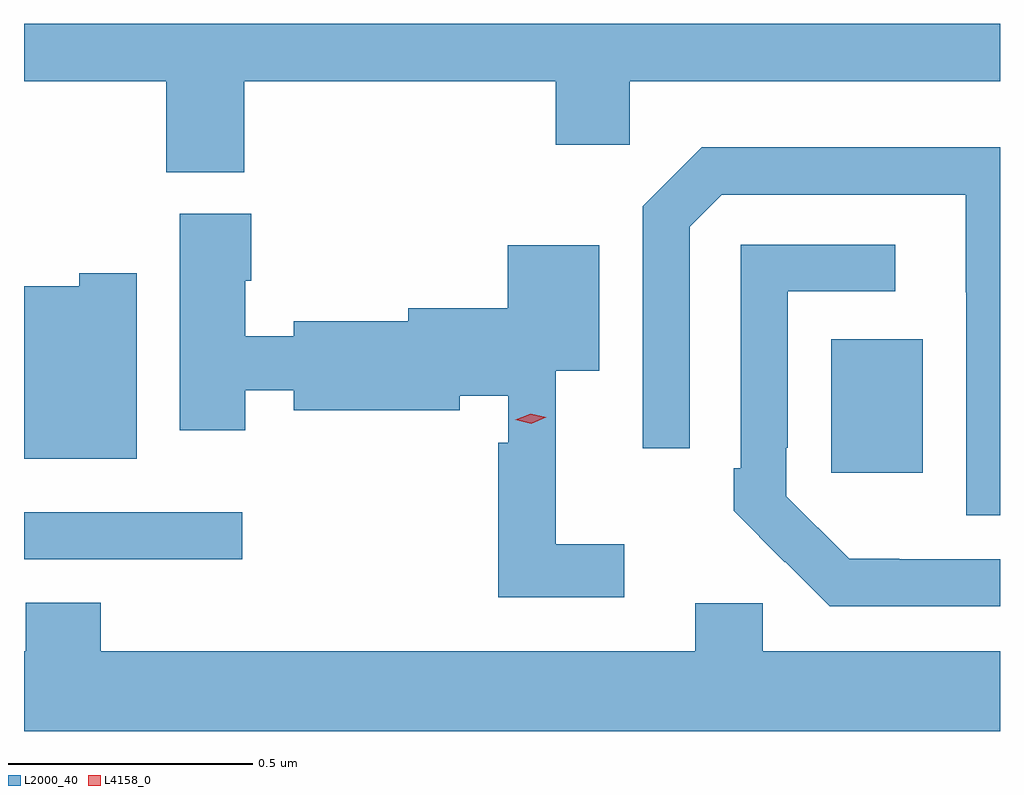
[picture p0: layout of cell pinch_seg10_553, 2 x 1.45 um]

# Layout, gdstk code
import gdstk
lib = gdstk.Library(unit=1e-6, precision=1e-09)
def R(c, l, rs):  # rectangles x0, y0, x1, y1
    for r in rs: c.add(gdstk.rectangle(r[:2], r[2:], *l))
def P(c, l, *ps):  # polygons
    for p in ps: c.add(gdstk.Polygon(p, *l))
L2000_40 = (2000, 40)
L4158_0 = (4158, 0)

pinch_seg10_553 = lib.new_cell('pinch_seg10_553')
R(pinch_seg10_553, L2000_40, [(178.795,1272.696,179.242,1272.792), (180.449,1272.873,180.637,1273.147)])
P(pinch_seg10_553, L2000_40, [(179.246,1273.676),(179.885,1273.676),(179.885,1273.545),(180.036,1273.545),(180.036,1273.676),(180.795,1273.676),(180.795,1273.793),(178.795,1273.793),(178.795,1273.676),(179.086,1273.676),(179.086,1273.489),(179.246,1273.489)],
  [(180.795,1273.54),(180.184,1273.54),(180.063,1273.419),(180.063,1272.924),(180.159,1272.924),(180.159,1273.377),(180.225,1273.443),(180.725,1273.443),(180.725,1273.243),(180.726,1273.243),(180.726,1272.786),(180.795,1272.786)],
  [(180.025,1272.727),(179.885,1272.727),(179.885,1273.082),(179.974,1273.082),(179.974,1273.339),(179.786,1273.339),(179.786,1273.21),(179.582,1273.21),(179.582,1273.184),(179.348,1273.184),(179.348,1273.153),(179.248,1273.153),(179.248,1273.267),(179.261,1273.267),(179.261,1273.404),(179.114,1273.404),(179.114,1272.96),(179.248,1272.96),(179.248,1273.042),(179.348,1273.042),(179.348,1273.001),(179.688,1273.001),(179.688,1273.031),(179.787,1273.031),(179.787,1272.935),(179.767,1272.935),(179.767,1272.618),(180.025,1272.618)],
  [(180.795,1272.696),(180.589,1272.696),(180.589,1272.697),(180.486,1272.697),(180.357,1272.825),(180.357,1272.925),(180.36,1272.925),(180.36,1273.245),(180.58,1273.245),(180.58,1273.341),(180.264,1273.341),(180.264,1272.883),(180.249,1272.883),(180.249,1272.795),(180.354,1272.69),(180.355,1272.691),(180.446,1272.6),(180.795,1272.6)],
  [(179.026,1273.282),(178.908,1273.282),(178.908,1273.255),(178.795,1273.255),(178.795,1272.902),(179.026,1272.902)],
  [(180.795,1272.508),(180.309,1272.508),(180.309,1272.606),(180.17,1272.606),(180.17,1272.508),(178.952,1272.508),(178.952,1272.607),(178.799,1272.607),(178.799,1272.508),(178.795,1272.508),(178.795,1272.344),(180.795,1272.344)])
P(pinch_seg10_553, L4158_0, [(179.834,1272.974),(179.802,1272.982),(179.802,1272.982),(179.802,1272.982),(179.833,1272.994),(179.865,1272.987),(179.865,1272.987),(179.865,1272.987)])

lib.write_gds('pinch_seg10_553.gds')
